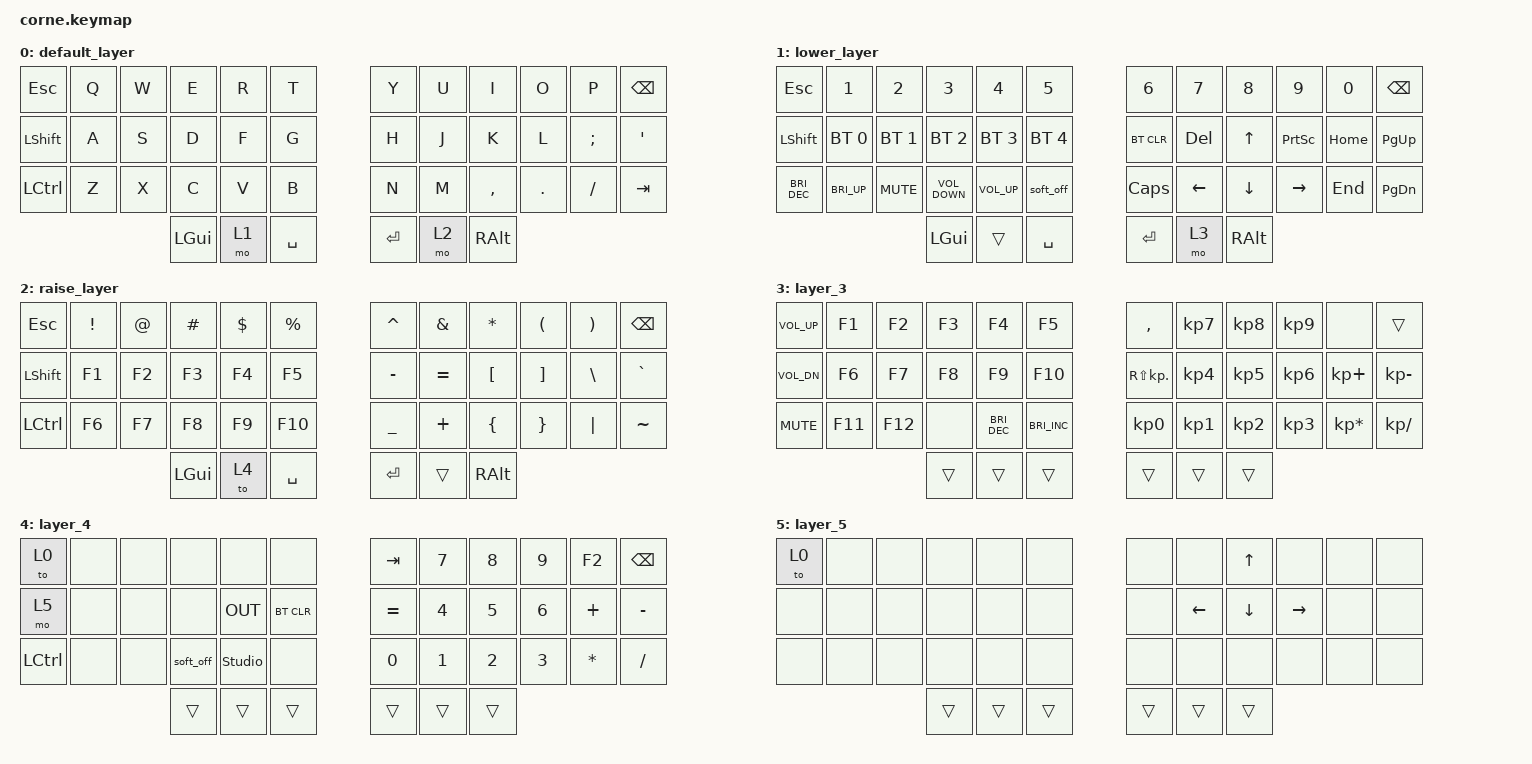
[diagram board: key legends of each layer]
/*
 * Copyright (c) 2020 The ZMK Contributors
 *
 * SPDX-License-Identifier: MIT
 */

#include <behaviors.dtsi>
#include <dt-bindings/zmk/bt.h>
#include <dt-bindings/zmk/keys.h>

&soft_off {
    hold-time-ms = <3000>; // Only turn off it the key is held for 5 seconds or longer.
};

/ {
    macros {
        ctrl_alt_del: ctrl_alt_del {
            compatible = "zmk,behavior-macro";
            #binding-cells = <0>;
            bindings =
                <&macro_press>,
                <&kp LEFT_CONTROL &kp LEFT_ALT &kp DEL>,
                <&macro_release>;

            label = "CTRL_ALT_DEL";
        };
    };

    keymap {
        compatible = "zmk,keymap";

        default_layer {
            // -----------------------------------------------------------------------------------------
            // |  TAB |  Q  |  W  |  E  |  R  |  T  |   |  Y  |  U   |  I  |  O  |  P  | BKSP |
            // | CTRL |  A  |  S  |  D  |  F  |  G  |   |  H  |  J   |  K  |  L  |  ;  |  '   |
            // | SHFT |  Z  |  X  |  C  |  V  |  B  |   |  N  |  M   |  ,  |  .  |  /  | ESC  |
            //                    | GUI | LWR | SPC |   | ENT | RSE  | ALT |

            bindings = <
&kp ESC           &kp Q  &kp W  &kp E     &kp R  &kp T        &kp Y    &kp U  &kp I      &kp O    &kp P     &kp BSPC
&kp LEFT_SHIFT    &kp A  &kp S  &kp D     &kp F  &kp G        &kp H    &kp J  &kp K      &kp L    &kp SEMI  &kp SQT
&kp LEFT_CONTROL  &kp Z  &kp X  &kp C     &kp V  &kp B        &kp N    &kp M  &kp COMMA  &kp DOT  &kp FSLH  &kp TAB
                                &kp LGUI  &mo 1  &kp SPACE    &kp RET  &mo 2  &kp RALT
            >;
        };

        lower_layer {
            // -----------------------------------------------------------------------------------------
            // |  TAB |  1  |  2  |  3  |  4  |  5  |   |  6  |  7  |  8  |  9  |  0  | BKSP |
            // | BTCLR| BT1 | BT2 | BT3 | BT4 | BT5 |   | LFT | DWN |  UP | RGT |     |      |
            // | SHFT |     |     |     |     |     |   |     |     |     |     |     |      |
            //                    | GUI |     | SPC |   | ENT |     | ALT |

            bindings = <
&kp ESC         &kp N1        &kp N2        &kp N3             &kp N4           &kp N5          &kp N6      &kp N7    &kp N8    &kp N9           &kp N0    &kp BSPC
&kp LEFT_SHIFT  &bt BT_SEL 0  &bt BT_SEL 1  &bt BT_SEL 2       &bt BT_SEL 3     &bt BT_SEL 4    &bt BT_CLR  &kp DEL   &kp UP    &kp PRINTSCREEN  &kp HOME  &kp PG_UP
&kp C_BRI_DEC   &kp C_BRI_UP  &kp K_MUTE    &kp C_VOLUME_DOWN  &kp C_VOLUME_UP  &soft_off       &kp CAPS    &kp LEFT  &kp DOWN  &kp RIGHT        &kp END   &kp PG_DN
                                            &kp LGUI           &trans           &kp SPACE       &kp RET     &mo 3     &kp RALT
            >;
        };

        raise_layer {
            // -----------------------------------------------------------------------------------------
            // |  TAB |  !  |  @  |  #  |  $  |  %  |   |  ^  |  &  |  *  |  (  |  )  | BKSP |
            // | CTRL |     |     |     |     |     |   |  -  |  =  |  [  |  ]  |  \  |  `   |
            // | SHFT |     |     |     |     |     |   |  _  |  +  |  {  |  }  | "|" |  ~   |
            //                    | GUI |     | SPC |   | ENT |     | ALT |

            bindings = <
&kp ESC           &kp EXCL  &kp AT  &kp HASH  &kp DLLR  &kp PRCNT    &kp CARET  &kp AMPS   &kp ASTERISK  &kp LPAR  &kp RPAR  &kp BSPC
&kp LEFT_SHIFT    &kp F1    &kp F2  &kp F3    &kp F4    &kp F5       &kp MINUS  &kp EQUAL  &kp LBKT      &kp RBKT  &kp BSLH  &kp GRAVE
&kp LEFT_CONTROL  &kp F6    &kp F7  &kp F8    &kp F9    &kp F10      &kp UNDER  &kp PLUS   &kp LBRC      &kp RBRC  &kp PIPE  &kp TILDE
                                    &kp LGUI  &to 4     &kp SPACE    &kp RET    &trans     &kp RALT
            >;
        };

        layer_3 {
            bindings = <
&kp C_VOL_UP  &kp F1   &kp F2   &kp F3  &kp F4                &kp F5                  &kp COMMA        &kp KP_NUMBER_7  &kp KP_NUMBER_8  &kp KP_NUMBER_9  &none            &trans
&kp C_VOL_DN  &kp F6   &kp F7   &kp F8  &kp F9                &kp F10                 &kp RS(KP_DOT)   &kp KP_NUMBER_4  &kp KP_NUMBER_5  &kp KP_NUMBER_6  &kp KP_PLUS      &kp KP_MINUS
&kp C_MUTE    &kp F11  &kp F12  &none   &kp C_BRIGHTNESS_DEC  &kp C_BRIGHTNESS_INC    &kp KP_NUMBER_0  &kp KP_N1        &kp KP_N2        &kp KP_NUMBER_3  &kp KP_MULTIPLY  &kp KP_DIVIDE
                                &trans  &trans                &trans                  &trans           &trans           &trans
            >;
        };

        layer_4 {
            bindings = <
&to 0             &none  &none  &none      &none           &none         &kp TAB    &kp N7  &kp N8  &kp N9  &kp F2        &kp BACKSPACE
&mo 5             &none  &none  &none      &kp OUT         &bt BT_CLR    &kp EQUAL  &kp N4  &kp N5  &kp N6  &kp PLUS      &kp MINUS
&kp LEFT_CONTROL  &none  &none  &soft_off  &studio_unlock  &none         &kp N0     &kp N1  &kp N2  &kp N3  &kp ASTERISK  &kp SLASH
                                &trans     &trans          &trans        &trans     &trans  &trans
            >;
        };

        layer_5 {
            bindings = <
&to 0  &none  &none  &none   &none   &none     &none   &none     &kp UP    &none      &none  &none
&none  &none  &none  &none   &none   &none     &none   &kp LEFT  &kp DOWN  &kp RIGHT  &none  &none
&none  &none  &none  &none   &none   &none     &none   &none     &none     &none      &none  &none
                     &trans  &trans  &trans    &trans  &trans    &trans
            >;
        };
    };
};
